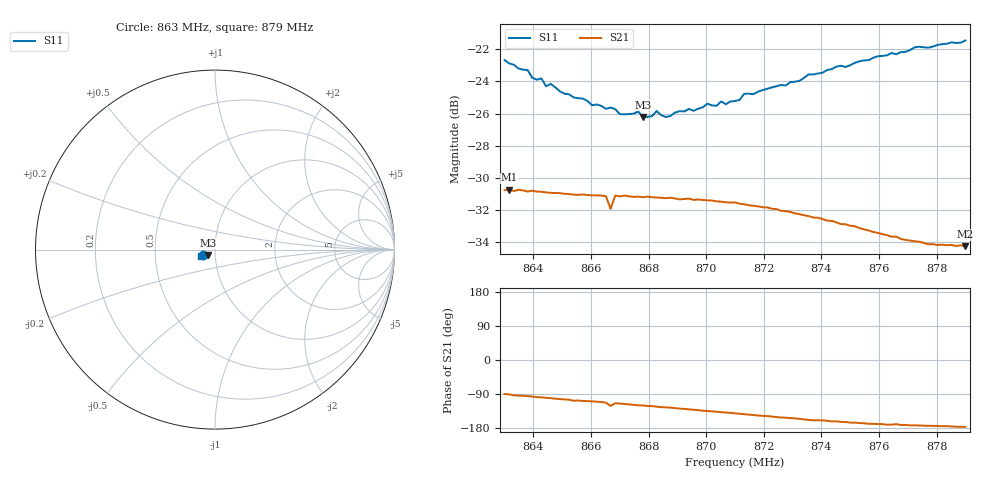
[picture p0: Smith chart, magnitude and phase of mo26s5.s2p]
# HZ S RI R 50
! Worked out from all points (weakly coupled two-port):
!   101 points, 863 MHz to 879 MHz, reference 50 ohm
!   highest |S21| = -30.75 dB at 863.16 MHz (marker M1); lowest = -34.3 dB at 879 MHz (marker M2)
!   lowest |S11| = -26.2 dB at 867.8 MHz (marker M3), VSWR 1.10, Z = 46.2 - j2.74 ohm
!   |S11| at or under -10 dB: start of sweep to end of sweep
!   S12 and S22 are empty: the file has one direction only
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8.63e8  -0.0663 -0.0319  8.4e-05 -0.0289  0 0  0 0
8.6316e8  -0.0644 -0.0318  -0.000357 -0.029  0 0  0 0
8.638e8  -0.0618 -0.0294  -0.00269 -0.0285  0 0  0 0
8.6396e8  -0.0586 -0.0278  -0.00315 -0.0287  0 0  0 0
8.6428e8  -0.0574 -0.0294  -0.00426 -0.0283  0 0  0 0
8.6444e8  -0.0544 -0.0274  -0.00482 -0.028  0 0  0 0
8.646e8  -0.0554 -0.0279  -0.00531 -0.0279  0 0  0 0
8.6508e8  -0.0512 -0.0269  -0.00688 -0.0273  0 0  0 0
8.6572e8  -0.0486 -0.0274  -0.00872 -0.0267  0 0  0 0
8.6652e8  -0.0437 -0.0279  -0.0107 -0.0256  0 0  0 0
8.6668e8  -0.0437 -0.0287  -0.013 -0.0217  0 0  0 0
8.6684e8  -0.0433 -0.0284  -0.0114 -0.0254  0 0  0 0
8.67e8  -0.0419 -0.0272  -0.0117 -0.0251  0 0  0 0
8.6764e8  -0.0408 -0.0304  -0.0136 -0.0241  0 0  0 0
8.678e8  -0.039 -0.0296  -0.0138 -0.0238  0 0  0 0
8.6828e8  -0.039 -0.0329  -0.015 -0.023  0 0  0 0
8.6844e8  -0.0376 -0.0323  -0.0155 -0.0226  0 0  0 0
8.71e8  -0.037 -0.0405  -0.0205 -0.0168  0 0  0 0
8.7132e8  -0.0393 -0.0423  -0.0209 -0.0158  0 0  0 0
8.7372e8  -0.046 -0.0478  -0.0222 -0.00851  0 0  0 0
8.7644e8  -0.0629 -0.0451  -0.0204 -0.00341  0 0  0 0
8.79e8  -0.0773 -0.0347  -0.0193 -0.00119  0 0  0 0
